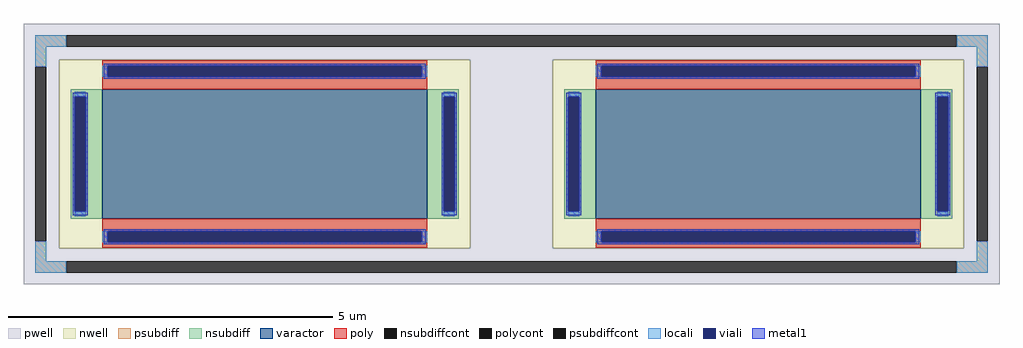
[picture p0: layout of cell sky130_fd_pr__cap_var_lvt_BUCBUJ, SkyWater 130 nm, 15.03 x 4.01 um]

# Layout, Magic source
magic
tech sky130A
magscale 1 2
<< nwell >>
rect -1393 -291 -127 291
rect 127 -291 1393 291
<< pwell >>
rect -1503 291 1503 401
rect -1503 -291 -1393 291
rect -127 -291 127 291
rect 1393 -291 1503 291
rect -1503 -401 1503 -291
<< varactor >>
rect -1260 -200 -260 200
rect 260 -200 1260 200
<< psubdiff >>
rect -1467 331 -1371 365
rect 1371 331 1467 365
rect -1467 269 -1433 331
rect 1433 269 1467 331
rect -1467 -331 -1433 -269
rect 1433 -331 1467 -269
rect -1467 -365 -1371 -331
rect 1371 -365 1467 -331
<< nsubdiff >>
rect -1357 176 -1260 200
rect -1357 -176 -1345 176
rect -1311 -176 -1260 176
rect -1357 -200 -1260 -176
rect -260 176 -163 200
rect -260 -176 -209 176
rect -175 -176 -163 176
rect -260 -200 -163 -176
rect 163 176 260 200
rect 163 -176 175 176
rect 209 -176 260 176
rect 163 -200 260 -176
rect 1260 176 1357 200
rect 1260 -176 1311 176
rect 1345 -176 1357 176
rect 1260 -200 1357 -176
<< psubdiffcont >>
rect -1371 331 1371 365
rect -1467 -269 -1433 269
rect 1433 -269 1467 269
rect -1371 -365 1371 -331
<< nsubdiffcont >>
rect -1345 -176 -1311 176
rect -209 -176 -175 176
rect 175 -176 209 176
rect 1311 -176 1345 176
<< poly >>
rect -1260 272 -260 288
rect -1260 238 -1244 272
rect -276 238 -260 272
rect -1260 200 -260 238
rect 260 272 1260 288
rect 260 238 276 272
rect 1244 238 1260 272
rect 260 200 1260 238
rect -1260 -238 -260 -200
rect -1260 -272 -1244 -238
rect -276 -272 -260 -238
rect -1260 -288 -260 -272
rect 260 -238 1260 -200
rect 260 -272 276 -238
rect 1244 -272 1260 -238
rect 260 -288 1260 -272
<< polycont >>
rect -1244 238 -276 272
rect 276 238 1244 272
rect -1244 -272 -276 -238
rect 276 -272 1244 -238
<< locali >>
rect -1467 331 -1371 365
rect 1371 331 1467 365
rect -1467 269 -1433 331
rect -1260 238 -1244 272
rect -276 238 -260 272
rect 260 238 276 272
rect 1244 238 1260 272
rect 1433 269 1467 331
rect -1345 176 -1311 192
rect -1345 -192 -1311 -176
rect -209 176 -175 192
rect -209 -192 -175 -176
rect 175 176 209 192
rect 175 -192 209 -176
rect 1311 176 1345 192
rect 1311 -192 1345 -176
rect -1467 -331 -1433 -269
rect -1260 -272 -1244 -238
rect -276 -272 -260 -238
rect 260 -272 276 -238
rect 1244 -272 1260 -238
rect 1433 -331 1467 -269
rect -1467 -365 -1371 -331
rect 1371 -365 1467 -331
<< viali >>
rect -1244 238 -276 272
rect 276 238 1244 272
rect -1345 -176 -1311 176
rect -209 -176 -175 176
rect 175 -176 209 176
rect 1311 -176 1345 176
rect -1244 -272 -276 -238
rect 276 -272 1244 -238
<< metal1 >>
rect -1256 272 -264 278
rect -1256 238 -1244 272
rect -276 238 -264 272
rect -1256 232 -264 238
rect 264 272 1256 278
rect 264 238 276 272
rect 1244 238 1256 272
rect 264 232 1256 238
rect -1351 176 -1305 188
rect -1351 -176 -1345 176
rect -1311 -176 -1305 176
rect -1351 -188 -1305 -176
rect -215 176 -169 188
rect -215 -176 -209 176
rect -175 -176 -169 176
rect -215 -188 -169 -176
rect 169 176 215 188
rect 169 -176 175 176
rect 209 -176 215 176
rect 169 -188 215 -176
rect 1305 176 1351 188
rect 1305 -176 1311 176
rect 1345 -176 1351 176
rect 1305 -188 1351 -176
rect -1256 -238 -264 -232
rect -1256 -272 -1244 -238
rect -276 -272 -264 -238
rect -1256 -278 -264 -272
rect 264 -238 1256 -232
rect 264 -272 276 -238
rect 1244 -272 1256 -238
rect 264 -278 1256 -272
<< properties >>
string FIXED_BBOX -1450 -348 1450 348
string gencell sky130_fd_pr__cap_var_lvt
string library sky130
string parameters w 2 l 5 m 1 nf 2 diffcov 100 polycov 100 guard 1 glc 1 grc 1 gtc 1 gbc 1 tbcov 100 rlcov 100 topc 1 botc 1 poverlap 0 doverlap 1 lmin 0.18 wmin 1.0 compatible {sky130_fd_pr__cap_var_lvt  sky130_fd_pr__cap_var_hvt sky130_fd_pr__cap_var} full_metal 1 viasrc 100 viadrn 100 viagate 100 viagb 0 viagr 0 viagl 0 viagt 0
<< end >>
